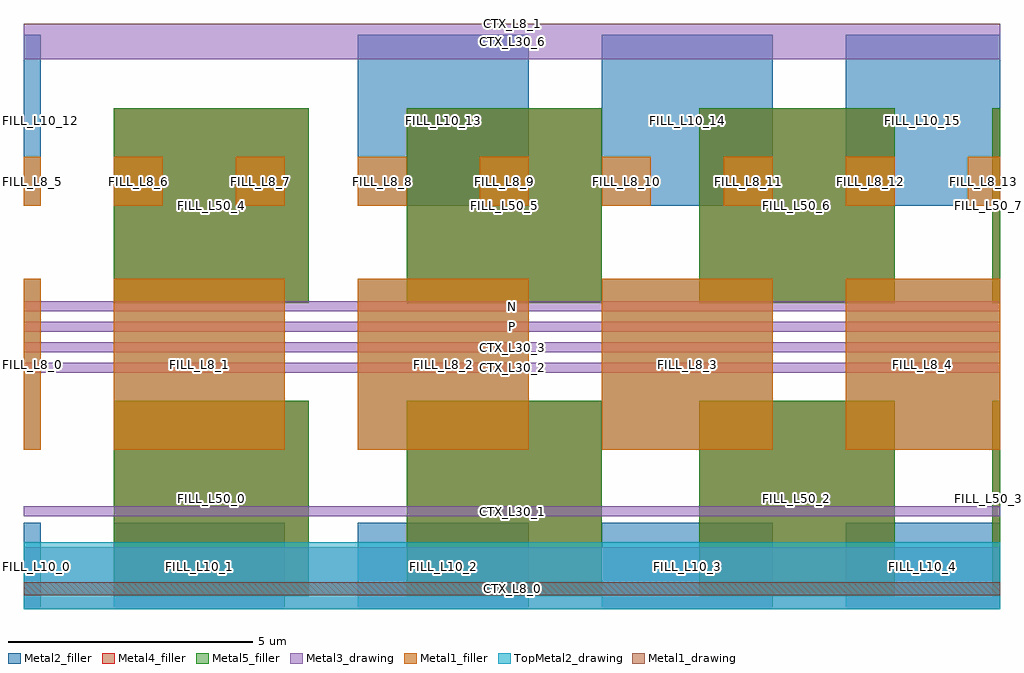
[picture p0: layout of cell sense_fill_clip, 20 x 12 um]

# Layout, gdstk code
import gdstk
lib = gdstk.Library(unit=1e-6, precision=1e-09)
def R(c, l, rs):  # rectangles x0, y0, x1, y1
    for r in rs: c.add(gdstk.rectangle(r[:2], r[2:], *l))
def A(c, l, x, y, w, h, nx, ny, dx, dy):  # array of equal rectangles
    R(c, l, [(x+i*dx, y+j*dy, x+i*dx+w, y+j*dy+h) for i in range(nx) for j in range(ny)])
Metal1_drawing = (8, 0)
Metal1_filler = (8, 22)
Metal2_filler = (10, 22)
Metal3_drawing = (30, 0)
Metal4_filler = (50, 22)
Metal5_filler = (67, 22)
TopMetal2_drawing = (134, 0)

sense_fill_clip = lib.new_cell('sense_fill_clip')
R(sense_fill_clip, Metal1_drawing, [(838.16,942.02,858.16,942.28), (838.16,953.72,858.16,953.73)])
A(sense_fill_clip, Metal1_filler, 840, 945, 3.5, 3.5, 3, 1, 5, 0)
A(sense_fill_clip, Metal1_filler, 840, 950, 1, 1, 7, 1, 2.5, 0)
R(sense_fill_clip, Metal1_filler, [(838.16,945,838.5,948.5), (855,945,858.16,948.5), (838.16,950,838.5,951), (857.5,950,858.16,951)])
A(sense_fill_clip, Metal2_filler, 840, 941.73, 3.5, 1.77, 3, 1, 5, 0)
A(sense_fill_clip, Metal2_filler, 840, 945, 3.5, 3.5, 3, 1, 5, 0)
R(sense_fill_clip, Metal2_filler, [(838.16,941.73,838.5,943.5), (855,941.73,858.16,943.5), (838.16,945,838.5,948.5), (855,945,858.16,948.5), (838.16,950,838.5,953.5), (840,950,841,951), (842.5,950,843.5,951), (845,950,848.5,953.5), (850,950,853.5,953.5), (855,950,858.16,953.5)])
A(sense_fill_clip, Metal3_drawing, 838.16, 946.58, 20, 0.2, 1, 4, 0, 0.42)
R(sense_fill_clip, Metal3_drawing, [(838.16,941.73,858.16,943), (838.16,943.64,858.16,943.84), (838.16,953,858.16,953.73)])
A(sense_fill_clip, Metal4_filler, 840, 942, 4, 4, 3, 2, 6, 6)
R(sense_fill_clip, Metal4_filler, [(858,942,858.16,946), (858,948,858.16,952)])
A(sense_fill_clip, Metal5_filler, 840, 942, 4, 4, 3, 2, 6, 6)
R(sense_fill_clip, Metal5_filler, [(858,942,858.16,946), (858,948,858.16,952)])
R(sense_fill_clip, TopMetal2_drawing, [(838.16,941.73,858.16,943.1)])
sense_fill_clip.add(gdstk.Label('CTX_L8_0', (848.16,942.15), layer=8, texttype=25))
sense_fill_clip.add(gdstk.Label('CTX_L8_1', (848.16,953.725), layer=8, texttype=25))
sense_fill_clip.add(gdstk.Label('FILL_L8_0', (838.33,946.75), layer=8, texttype=25))
sense_fill_clip.add(gdstk.Label('FILL_L8_1', (841.75,946.75), layer=8, texttype=25))
sense_fill_clip.add(gdstk.Label('FILL_L8_2', (846.75,946.75), layer=8, texttype=25))
sense_fill_clip.add(gdstk.Label('FILL_L8_3', (851.75,946.75), layer=8, texttype=25))
sense_fill_clip.add(gdstk.Label('FILL_L8_4', (856.58,946.75), layer=8, texttype=25))
sense_fill_clip.add(gdstk.Label('FILL_L8_5', (838.33,950.5), layer=8, texttype=25))
sense_fill_clip.add(gdstk.Label('FILL_L8_6', (840.5,950.5), layer=8, texttype=25))
sense_fill_clip.add(gdstk.Label('FILL_L8_7', (843,950.5), layer=8, texttype=25))
sense_fill_clip.add(gdstk.Label('FILL_L8_8', (845.5,950.5), layer=8, texttype=25))
sense_fill_clip.add(gdstk.Label('FILL_L8_9', (848,950.5), layer=8, texttype=25))
sense_fill_clip.add(gdstk.Label('FILL_L8_10', (850.5,950.5), layer=8, texttype=25))
sense_fill_clip.add(gdstk.Label('FILL_L8_11', (853,950.5), layer=8, texttype=25))
sense_fill_clip.add(gdstk.Label('FILL_L8_12', (855.5,950.5), layer=8, texttype=25))
sense_fill_clip.add(gdstk.Label('FILL_L8_13', (857.83,950.5), layer=8, texttype=25))
sense_fill_clip.add(gdstk.Label('FILL_L10_0', (838.33,942.615), layer=10, texttype=25))
sense_fill_clip.add(gdstk.Label('FILL_L10_1', (841.75,942.615), layer=10, texttype=25))
sense_fill_clip.add(gdstk.Label('FILL_L10_2', (846.75,942.615), layer=10, texttype=25))
sense_fill_clip.add(gdstk.Label('FILL_L10_3', (851.75,942.615), layer=10, texttype=25))
sense_fill_clip.add(gdstk.Label('FILL_L10_4', (856.58,942.615), layer=10, texttype=25))
sense_fill_clip.add(gdstk.Label('FILL_L10_5', (838.33,946.75), layer=10, texttype=25))
sense_fill_clip.add(gdstk.Label('FILL_L10_6', (841.75,946.75), layer=10, texttype=25))
sense_fill_clip.add(gdstk.Label('FILL_L10_7', (846.75,946.75), layer=10, texttype=25))
sense_fill_clip.add(gdstk.Label('FILL_L10_8', (851.75,946.75), layer=10, texttype=25))
sense_fill_clip.add(gdstk.Label('FILL_L10_9', (856.58,946.75), layer=10, texttype=25))
sense_fill_clip.add(gdstk.Label('FILL_L10_10', (840.5,950.5), layer=10, texttype=25))
sense_fill_clip.add(gdstk.Label('FILL_L10_11', (843,950.5), layer=10, texttype=25))
sense_fill_clip.add(gdstk.Label('FILL_L10_12', (838.33,951.75), layer=10, texttype=25))
sense_fill_clip.add(gdstk.Label('FILL_L10_13', (846.75,951.75), layer=10, texttype=25))
sense_fill_clip.add(gdstk.Label('FILL_L10_14', (851.75,951.75), layer=10, texttype=25))
sense_fill_clip.add(gdstk.Label('FILL_L10_15', (856.58,951.75), layer=10, texttype=25))
sense_fill_clip.add(gdstk.Label('CTX_L30_0', (848.16,942.365), layer=30, texttype=25))
sense_fill_clip.add(gdstk.Label('CTX_L30_1', (848.16,943.74), layer=30, texttype=25))
sense_fill_clip.add(gdstk.Label('CTX_L30_2', (848.16,946.68), layer=30, texttype=25))
sense_fill_clip.add(gdstk.Label('CTX_L30_3', (848.16,947.1), layer=30, texttype=25))
sense_fill_clip.add(gdstk.Label('P', (848.16,947.52), layer=30, texttype=25))
sense_fill_clip.add(gdstk.Label('N', (848.16,947.94), layer=30, texttype=25))
sense_fill_clip.add(gdstk.Label('CTX_L30_6', (848.16,953.365), layer=30, texttype=25))
sense_fill_clip.add(gdstk.Label('FILL_L50_0', (842,944), layer=50, texttype=25))
sense_fill_clip.add(gdstk.Label('FILL_L50_1', (848,944), layer=50, texttype=25))
sense_fill_clip.add(gdstk.Label('FILL_L50_2', (854,944), layer=50, texttype=25))
sense_fill_clip.add(gdstk.Label('FILL_L50_3', (858.08,944), layer=50, texttype=25))
sense_fill_clip.add(gdstk.Label('FILL_L50_4', (842,950), layer=50, texttype=25))
sense_fill_clip.add(gdstk.Label('FILL_L50_5', (848,950), layer=50, texttype=25))
sense_fill_clip.add(gdstk.Label('FILL_L50_6', (854,950), layer=50, texttype=25))
sense_fill_clip.add(gdstk.Label('FILL_L50_7', (858.08,950), layer=50, texttype=25))
sense_fill_clip.add(gdstk.Label('FILL_L67_0', (842,944), layer=67, texttype=25))
sense_fill_clip.add(gdstk.Label('FILL_L67_1', (848,944), layer=67, texttype=25))
sense_fill_clip.add(gdstk.Label('FILL_L67_2', (854,944), layer=67, texttype=25))
sense_fill_clip.add(gdstk.Label('FILL_L67_3', (858.08,944), layer=67, texttype=25))
sense_fill_clip.add(gdstk.Label('FILL_L67_4', (842,950), layer=67, texttype=25))
sense_fill_clip.add(gdstk.Label('FILL_L67_5', (848,950), layer=67, texttype=25))
sense_fill_clip.add(gdstk.Label('FILL_L67_6', (854,950), layer=67, texttype=25))
sense_fill_clip.add(gdstk.Label('FILL_L67_7', (858.08,950), layer=67, texttype=25))
sense_fill_clip.add(gdstk.Label('CTX_L134_0', (848.16,942.415), layer=134, texttype=25))

lib.write_gds('sense_fill_clip.gds')
